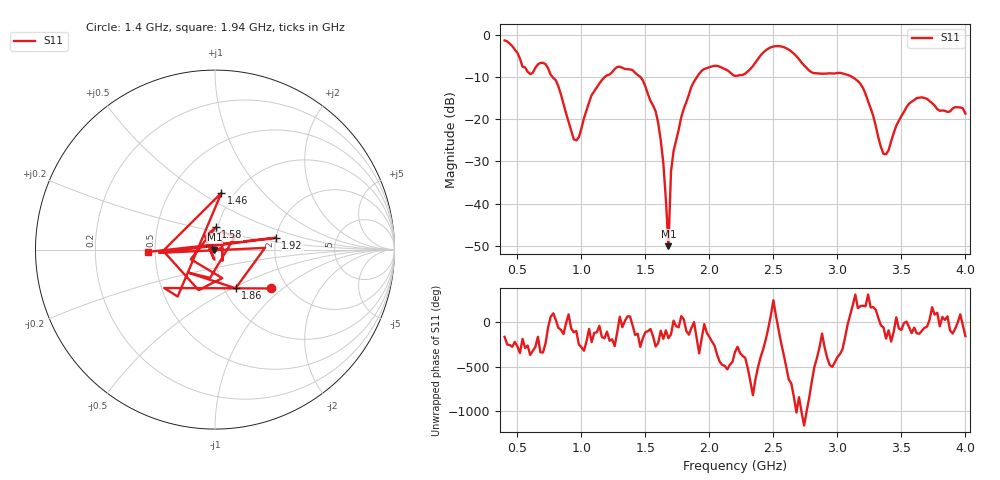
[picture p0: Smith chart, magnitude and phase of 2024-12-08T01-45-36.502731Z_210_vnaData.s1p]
!Created with skrf (http://scikit-rf.org).
# Hz S RI R 50.0
!freq ReS11 ImS11
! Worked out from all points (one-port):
!   181 points, 400 MHz to 4 GHz, reference 50 ohm
!   lowest |S11| = -50.1 dB at 1.68 GHz (marker M1), VSWR 1.01, Z = 49.7 - j0.0106 ohm
!   |S11| at or under -10 dB: 775.2 MHz to 1.182 GHz (406.6 MHz wide, 41.6 % of centre); 1.461 GHz to 1.903 GHz (442.1 MHz wide, 26.3 % of centre); 3.116 GHz to end of sweep
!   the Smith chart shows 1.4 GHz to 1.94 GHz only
!   S11 on the Smith chart (normalised r, x): 1.4 GHz: 1.65, -0.84; 1.46 GHz: 0.87, +0.61; 1.58 GHz: 0.98, +0.25; 1.86 GHz: 1.13, -0.52; 1.92 GHz: 2.00, +0.30; 1.94 GHz: 0.45, -0.01
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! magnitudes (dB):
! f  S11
! 400 MHz  -1.3
! 600 MHz  -9.3
! 720 MHz  -6.9
! 860 MHz  -16.4
! 960 MHz  -25.0
! 1.08 GHz  -14.3
! 1.3 GHz  -7.5
! 1.4 GHz  -8.4
! 1.46 GHz  -10.0
! 1.58 GHz  -18.1
! 1.64 GHz  -30.4
! 1.68 GHz  -50.1
! 1.7 GHz  -32.4
! 1.76 GHz  -22.5
! 1.86 GHz  -12.3
! 1.92 GHz  -9.2
! 1.94 GHz  -8.5
! 2.06 GHz  -7.3
! 2.2 GHz  -9.8
! 2.48 GHz  -3.0
! 2.66 GHz  -4.5
! 2.8 GHz  -8.9
! 3.1 GHz  -9.7
! 3.22 GHz  -14.0
! 3.36 GHz  -28.2
! 3.56 GHz  -16.3
! 3.66 GHz  -14.8
! 4 GHz  -18.6
